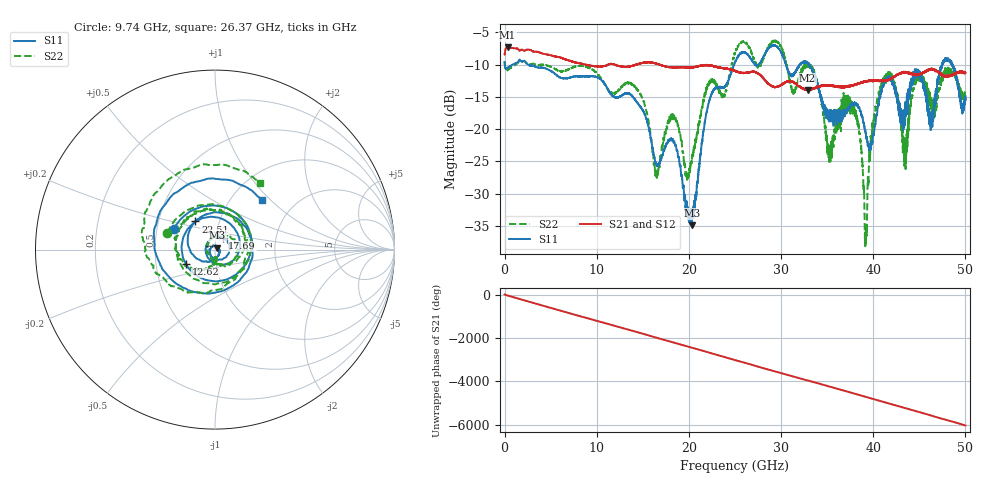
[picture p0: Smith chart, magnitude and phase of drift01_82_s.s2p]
!Created with skrf (http://scikit-rf.org).
# Hz S RI R 50.0
!freq ReS11 ImS11 ReS21 ImS21 ReS12 ImS12 ReS22 ImS22
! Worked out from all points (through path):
!   10001 points, 300 kHz to 50 GHz, reference 50 ohm
!   highest |S21| = -7.33 dB at 325.3 MHz (marker M1); lowest = -14.0 dB at 32.87 GHz (marker M2)
!   group delay of S21, straight-line fit = 335 ps
!   lowest |S11| = -34.9 dB at 20.3 GHz (marker M3), VSWR 1.04, Z = 51.4 + j1.18 ohm
!   |S11| at or under -10 dB: 2.557 GHz to 24.9 GHz (22.34 GHz wide, 163 % of centre); 30.53 GHz to 32.05 GHz (1.514 GHz wide, 4.84 % of centre); 33.07 GHz to 47.46 GHz (14.39 GHz wide, 35.7 % of centre) (the widest 3 of 19)
!   |S22| runs from -38.1 to -6.2 dB; largest |S21 - S12| = 0.0094
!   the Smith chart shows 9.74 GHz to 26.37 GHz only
!   S11 on the Smith chart (normalised r, x): 9.74 GHz: 0.61, +0.15; 12.62 GHz: 0.71, -0.12; 17.69 GHz: 1.08, +0.14; 22.51 GHz: 0.77, +0.25; 26.37 GHz: 1.39, +0.89
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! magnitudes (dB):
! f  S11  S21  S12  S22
! 300 kHz  -9.6  -8.4  -8.5  -9.6
! 325.3 MHz  -10.5  -7.3  -7.3  -10.9
! 8.335 GHz  -11.8  -9.8  -9.8  -10.2
! 9.74 GHz  -11.8  -10.3  -10.2  -10.9
! 12.62 GHz  -14.9  -10.3  -10.3  -13.6
! 16.67 GHz  -25.7  -9.9  -9.9  -26.9
! 17.69 GHz  -22.1  -10.3  -10.4  -19.0
! 20.3 GHz  -34.9  -10.5  -10.5  -25.1
! 22.51 GHz  -14.4  -10.2  -10.2  -12.4
! 25 GHz  -9.6  -11.0  -11.0  -8.1
! 26.37 GHz  -8.4  -11.2  -11.2  -6.9
! 32.87 GHz  -9.7  -14.0  -13.9  -9.7
! 33.34 GHz  -10.7  -13.8  -13.7  -10.6
! 35.27 GHz  -18.1  -13.2  -13.2  -23.0
! 37.99 GHz  -15.9  -13.1  -13.1  -17.6
! 39.17 GHz  -20.5  -12.7  -12.6  -38.0
! 40.12 GHz  -20.1  -12.4  -12.4  -17.8
! 41.67 GHz  -11.8  -12.3  -12.3  -12.3
! 43.43 GHz  -18.3  -11.2  -11.3  -24.2
! 44.84 GHz  -11.0  -11.5  -11.6  -11.4
! 46.26 GHz  -19.0  -10.8  -10.8  -15.6
! 50 GHz  -15.5  -11.3  -11.3  -15.0
